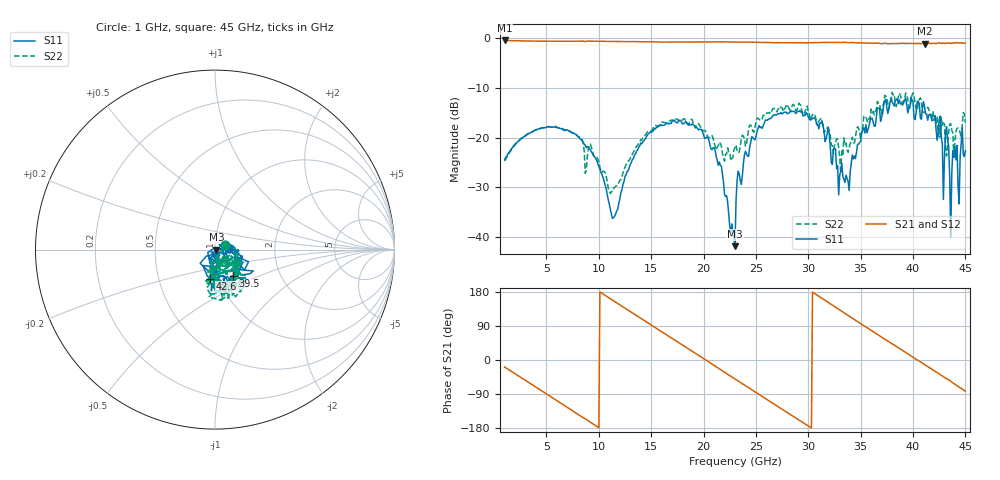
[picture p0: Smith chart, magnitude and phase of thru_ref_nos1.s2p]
!Keysight Technologies,N5247B,MY61255062,A.19.80.06
!Date: Monday, May 18, 2026 12:58:06
!Correction: S11(Cdelta 2-Port  )
!S21(Cdelta 2-Port  )
!S12(Cdelta 2-Port  )
!S22(Cdelta 2-Port  )
!S2P File: Measurements: S11, S21, S12, S22:
# Hz S  dB  R 50
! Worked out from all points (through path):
!   441 points, 1 GHz to 45 GHz, reference 50 ohm
!   highest |S21| = -0.39 dB at 1 GHz (marker M1); lowest = -1.1 dB at 41.1 GHz (marker M2)
!   group delay of S21, straight-line fit = 49.4 ps
!   lowest |S11| = -41.8 dB at 23 GHz (marker M3), VSWR 1.02, Z = 50.8 + j0.00392 ohm
!   |S11| at or under -10 dB: start of sweep to end of sweep
!   |S22| runs from -31.2 to -10.8 dB; largest |S21 - S12| = 0.018
!   S11 on the Smith chart (normalised r, x): 1 GHz: 1.12, +0.05; 39.5 GHz: 1.16, -0.36; 42.6 GHz: 0.90, -0.30; 45 GHz: 1.16, +0.01
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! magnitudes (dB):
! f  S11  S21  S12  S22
! 1 GHz  -24.4  -0.4  -0.4  -24.7
! 4.6 GHz  -18.0  -0.5  -0.5  -18.0
! 8.4 GHz  -20.6  -0.5  -0.5  -20.3
! 11.4 GHz  -36.0  -0.6  -0.6  -30.2
! 13.4 GHz  -23.5  -0.6  -0.6  -22.4
! 15.7 GHz  -17.5  -0.7  -0.7  -17.6
! 19.8 GHz  -18.3  -0.7  -0.7  -18.4
! 21.7 GHz  -25.7  -0.7  -0.7  -21.7
! 22.8 GHz  -39.0  -0.7  -0.7  -24.0
! 23 GHz  -41.8  -0.7  -0.7  -22.0
! 23.3 GHz  -26.7  -0.7  -0.7  -23.0
! 25.3 GHz  -17.5  -0.8  -0.8  -16.3
! 30.4 GHz  -16.2  -0.9  -0.9  -15.3
! 33.7 GHz  -28.2  -0.8  -0.8  -22.5
! 35.3 GHz  -18.0  -0.9  -0.9  -15.7
! 37.7 GHz  -14.1  -1.1  -1.0  -14.1
! 39.5 GHz  -15.0  -1.0  -1.0  -12.3
! 41.1 GHz  -13.7  -1.1  -1.0  -14.9
! 42.6 GHz  -15.6  -0.9  -1.0  -19.9
! 43.7 GHz  -27.2  -1.0  -0.9  -18.5
! 44 GHz  -21.8  -0.9  -0.8  -20.5
! 45 GHz  -22.6  -0.9  -1.0  -16.9
